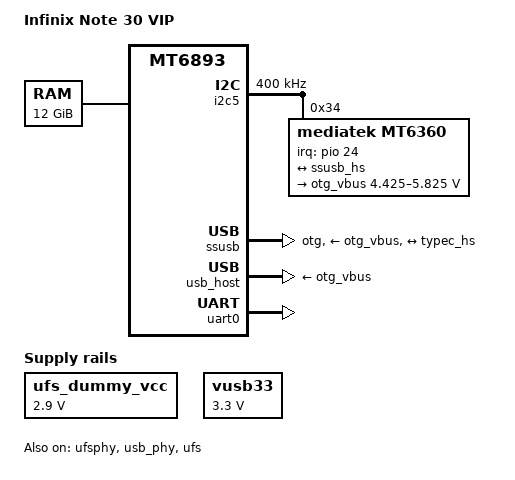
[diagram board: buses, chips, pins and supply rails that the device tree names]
/dts-v1/;
#include "mt6893.dtsi"
#include "mt6359.dtsi"
#include <dt-bindings/gpio/gpio.h>
#include <dt-bindings/usb/pd.h>

/ {
        model = "Infinix Note 30 VIP";
        chassis-type = "handset";
        compatible = "infinix,x6710";

        chosen {
                #address-cells = <2>;
                #size-cells = <2>;
                ranges;

                bootargs = "console=tty0 console=ttyS0,921600 clk_ignore_unused regulator_ignore_unused pd_ignore_unused loglevel=7";

                framebuffer@76a10000 {
                        compatible = "simple-framebuffer";
                        reg = <0 0x76a10000 0 0x1df0000>;
                        width = <1080>;
                        height = <2400>;
                        stride = <((1080 + 8) * 4)>;
                        format = "a8r8g8b8";
                        status = "okay";
                };
        };


        memory@40000000 {
                device_type = "memory";
                reg = <0 0x40000000 0x3 0>;
        };

        reserved-memory {
                #address-cells = <2>;
                #size-cells = <2>;
                ranges;

                memory@ffe60000 {
                        reg = <0 0xffe60000 0 0x190000>;
                        no-map;
                };

                memory@74000000 {
                        reg = <0 0x74000000 0 0xe30000>;
                        no-map;
                };

                memory@88000000 {
                        reg = <0 0x88000000 0 0x5560000>;
                        no-map;
                };

                memory@8e000000 {
                        reg = <0 0x8e000000 0 0x910000>;
                        no-map;
                };

                memory@fa850000 {
                        reg = <0 0xfa850000 0 0x37b0000>;
                        no-map;
                };

                memory@e4000000 {
                        reg = <0 0xe4000000 0 0x7eb0000>;
                        no-map;
                };

                memory@e3000000 {
                        reg = <0 0xe3000000 0 0xf0000>;
                        no-map;
                };

                memory@e0000000 {
                        reg = <0 0xe0000000 0 0x2080000>;
                        no-map;
                };

                memory@bff70000 {
                        reg = <0 0xbff70000 0 0x10000>;
                        no-map;
                };

                memory@9fb00000 {
                        reg = <0 0x9fb00000 0 0x400000>;
                        no-map;
                };

                memory@75000000 {
                        reg = <0 0x75000000 0 0x10000>;
                        no-map;
                };

                memory@be510000 {
                        reg = <0 0xbe510000 0 0x18f0000>;
                        no-map;
                };

                memory@76a10000 {
                        reg = <0 0x76a10000 0 0x1df0000>;
                        no-map;
                };

                memory@7ffa0000 {
                        reg = <0 0x7ffa0000 0 0x8000>;
                        no-map;
                };

                memory@48170000 {
                        reg = <0 0x48170000 0 0x10000>;
                        no-map;
                };

                memory@48090000 {
                        reg = <0 0x48090000 0 0xe0000>;
                        no-map;
                };

                memory@48080000 {
                        reg = <0 0x48080000 0 0x10000>;
                        no-map;
                };

                memory@5ff00000 {
                        reg = <0 0x5ff00000 0 0x80000>;
                        no-map;
                };

                memory@7ed00000 {
                        reg = <0 0x7ed00000 0 0x100000>;
                        no-map;
                };

                memory@78800000 {
                        reg = <0 0x78800000 0 0x6000000>;
                        no-map;
                };

                memory@7fea0000 {
                        reg = <0 0x7fea0000 0 0x100000>;
                        no-map;
                };

                memory@7e800000 {
                        reg = <0 0x7e800000 0 0x400000>;
                        no-map;
                };

                memory@bfe00000 {
                        reg = <0 0xbfe00000 0 0x40000>;
                        no-map;
                };

                memory@bff80000 {
                        reg = <0 0xbff80000 0 0x80000>;
                        no-map;
                };

                memory@48c00000 {
                        reg = <0 0x48c00000 0 0x200000>;
                        no-map;
                };

                memory@7ffaf000 {
                        reg = <0 0x7ffaf000 0 0x10000>;
                };

                memory@7ffbf000 {
                        reg = <0 0x7ffbf000 0 0x40000>;
                };

                memory@7ec00000 {
                        reg = <0 0x7ec00000 0 0x41000>;
                };

                memory@7ee00000 {
                        reg = <0 0x7ee00000 0 0x1000000>;
                        no-map;
                };

                memory@7ffff000 {
                        reg = <0 0x7ffff000 0 0x1000>;
                        no-map;
                };
        };

	ufs_dummy_vcc: regulator-ufs-vcc {
		compatible = "regulator-fixed";
		regulator-name = "vreg_ufs_vcc";

		regulator-min-microvolt = <2900000>;
		regulator-max-microvolt = <2900000>;

		regulator-always-on;
		regulator-boot-on;
	};

        vusb33: regulator-vusb33 {
                compatible = "regulator-fixed";
                regulator-name = "vusb33";
                regulator-min-microvolt = <3300000>;
                regulator-max-microvolt = <3300000>;
                regulator-always-on;
        };

};

&i2c5 {
    status = "okay";
    clock-frequency = <400000>;
    clock-div = <1>;

    mt6360: pmic@34 {
        compatible = "mediatek,mt6360";
        reg = <0x34>;
        interrupt-parent = <&pio>;
        interrupts = <24 IRQ_TYPE_EDGE_FALLING>;
        interrupt-controller;
        #interrupt-cells = <1>;
        wakeup-source;

        charger {
            compatible = "mediatek,mt6360-chg";
            richtek,vinovp-microvolt = <14500000>;

            otg_vbus: usb-otg-vbus-regulator {
                regulator-name = "usb-otg-vbus";
                regulator-min-microvolt = <4425000>;
                regulator-max-microvolt = <5825000>;
            };
        };

        tcpc {
            compatible = "mediatek,mt6360-tcpc";
            interrupts-extended = <&pio 25 IRQ_TYPE_LEVEL_LOW>;
            interrupt-names = "PD_IRQB";

            connector {
                compatible = "usb-c-connector";
                label = "USB-C";
                power-role = "dual";
                data-role = "dual";
                pd-disable;

                port {
                    typec_hs: endpoint {
                        remote-endpoint = <&ssusb_hs>;
                    };
                };
            };
        };
    };
};

&ssusb {
    status = "okay";
    dr_mode = "otg";
    usb-role-switch;
    maximum-speed = "high-speed";
    mediatek,u3p-dis-msk = <1>;
    mediatek,force-vbus;
    vbus-supply = <&otg_vbus>;
    vusb33-supply = <&vusb33>;
    port { ssusb_hs: endpoint { remote-endpoint = <&typec_hs>; }; };
};

&usb_host {
    status = "okay";
    mediatek,force-vbus;
    vbus-supply = <&otg_vbus>;
    vusb33-supply = <&vusb33>;
};

&ufsphy { status = "okay"; };
&usb_phy { status = "okay"; };
&ufs {  status = "okay"; vcc-supply = <&ufs_dummy_vcc>; };
&uart0 { status = "okay"; };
